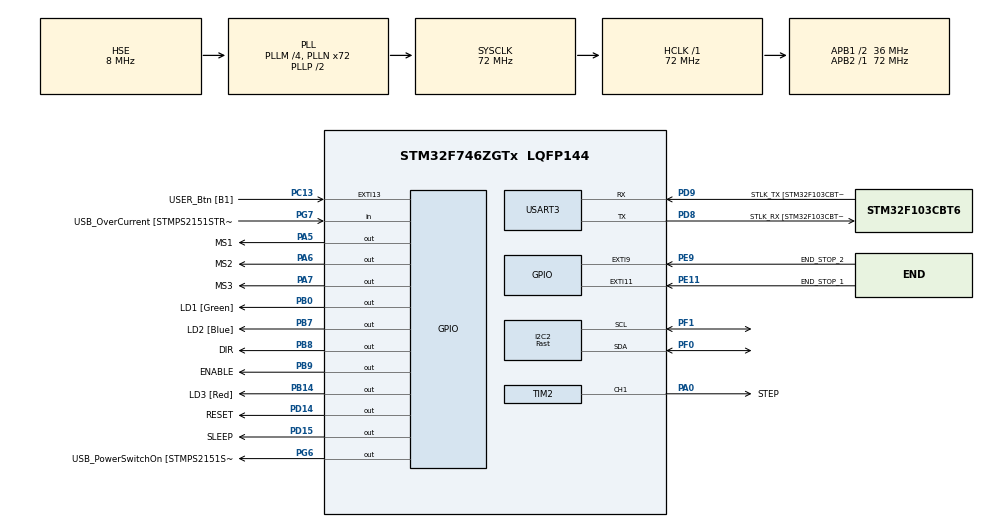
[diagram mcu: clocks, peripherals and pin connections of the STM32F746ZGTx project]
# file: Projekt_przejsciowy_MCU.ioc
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I2C2.I2C_Speed_Mode=I2C_Fast
I2C2.Timing=0x00301739
Mcu.Family=STM32F7
Mcu.Name=STM32F746ZGTx
Mcu.Package=LQFP144
NVIC.EXTI15_10_IRQn=true\:0\:0\:false\:false\:true\:true\:true\:true
NVIC.EXTI9_5_IRQn=true\:0\:0\:false\:false\:true\:true\:true\:true
NVIC.PriorityGroup=NVIC_PRIORITYGROUP_4
NVIC.TIM3_IRQn=true\:0\:0\:false\:false\:true\:true\:true\:true
NVIC.TIM4_IRQn=true\:0\:0\:false\:false\:true\:true\:true\:true
PA0/WKUP.GPIO_Label=STEP
PA0/WKUP.Signal=S_TIM2_CH1_ETR
PA13.GPIO_Label=TMS
PA13.Mode=Serial_Wire
PA13.Signal=SYS_JTMS-SWDIO
PA14.GPIO_Label=TCK
PA14.Mode=Serial_Wire
PA14.Signal=SYS_JTCK-SWCLK
PA5.GPIO_Label=MS1
PA5.Signal=GPIO_Output
PA6.GPIO_Label=MS2
PA6.Signal=GPIO_Output
PA7.GPIO_Label=MS3
PA7.Signal=GPIO_Output
PB0.GPIO_Label=LD1 [Green]
PB0.Signal=GPIO_Output
PB14.GPIO_Label=LD3 [Red]
PB14.Signal=GPIO_Output
PB3.GPIO_Label=SW0
PB3.Signal=SYS_JTDO-SWO
PB7.GPIO_Label=LD2 [Blue]
PB7.Signal=GPIO_Output
PB8.GPIO_Label=DIR
PB8.Signal=GPIO_Output
PB9.GPIO_Label=ENABLE
PB9.Signal=GPIO_Output
PC13.GPIO_Label=USER_Btn [B1]
PC13.Signal=GPXTI13
PC14/OSC32_IN.Mode=LSE-External-Oscillator
PC14/OSC32_IN.Signal=RCC_OSC32_IN
PC15/OSC32_OUT.Mode=LSE-External-Oscillator
PC15/OSC32_OUT.Signal=RCC_OSC32_OUT
PD14.GPIO_Label=RESET
PD14.Signal=GPIO_Output
PD15.GPIO_Label=SLEEP
PD15.Signal=GPIO_Output
PD8.GPIO_Label=STLK_RX [STM32F103CBT6_PA3]
PD8.Mode=Asynchronous
PD8.Signal=USART3_TX
PD9.GPIO_Label=STLK_TX [STM32F103CBT6_PA2]
PD9.Mode=Asynchronous
PD9.Signal=USART3_RX
PE11.GPIO_Label=END_STOP_1
PE11.Signal=GPXTI11
PE9.GPIO_Label=END_STOP_2
PE9.Signal=GPXTI9
PF0.Mode=I2C
PF0.Signal=I2C2_SDA
PF1.Mode=I2C
PF1.Signal=I2C2_SCL
PG6.GPIO_Label=USB_PowerSwitchOn [STMPS2151STR_EN]
PG6.Signal=GPIO_Output
PG7.GPIO_Label=USB_OverCurrent [STMPS2151STR_FAULT]
PG7.Signal=GPIO_Input
PH0/OSC_IN.GPIO_Label=MCO [STM32F103CBT6_PA8]
PH0/OSC_IN.Mode=HSE-External-Clock-Source
PH0/OSC_IN.Signal=RCC_OSC_IN
PH1/OSC_OUT.Mode=HSE-External-Clock-Source
PH1/OSC_OUT.Signal=RCC_OSC_OUT
ProjectManager.HeapSize=0x200
ProjectManager.StackSize=0x400
ProjectManager.TargetToolchain=STM32CubeIDE
RCC.48MHZClocksFreq_Value=24000000
RCC.AHBFreq_Value=72000000
RCC.APB1CLKDivider=RCC_HCLK_DIV2
RCC.APB1Freq_Value=36000000
RCC.APB1TimFreq_Value=72000000
RCC.APB2Freq_Value=72000000
RCC.APB2TimFreq_Value=72000000
RCC.CortexFreq_Value=72000000
RCC.HCLKFreq_Value=72000000
RCC.HSE_VALUE=8000000
RCC.HSI_VALUE=16000000
RCC.PLLM=4
RCC.PLLMUL=RCC_PLL_MUL9
RCC.PLLN=72
RCC.PLLQ=3
RCC.PLLSourceVirtual=RCC_PLLSOURCE_HSE
RCC.PRESCALERUSB=RCC_USBCLKSOURCE_PLL_DIV1_5
RCC.SYSCLKFreq_VALUE=72000000
RCC.SYSCLKSource=RCC_SYSCLKSOURCE_PLLCLK
RCC.SYSCLKSourceVirtual=RCC_SYSCLKSOURCE_PLLCLK
RCC.USBFreq_Value=48000000
RCC.VCOOutputFreq_Value=144000000
SH.S_TIM2_CH1_ETR.0=TIM2_CH1,PWM Generation1 CH1
TIM2.Channel-PWM\ Generation1\ CH1=TIM_CHANNEL_1
TIM2.Period=999
TIM2.Prescaler=71
TIM2.Pulse-PWM\ Generation1\ CH1=499
TIM2.TIM_MasterOutputTrigger=TIM_TRGO_UPDATE
TIM3.Period=0
TIM4.AutoReloadPreload=TIM_AUTORELOAD_PRELOAD_ENABLE
TIM4.Period=1999
TIM4.Prescaler=7199
TIM4.TIM_MasterOutputTrigger=TIM_TRGO_UPDATE
USART3.VirtualMode-Asynchronous=VM_ASYNC
VP_TIM2_VS_ClockSourceINT.Mode=Internal
VP_TIM3_VS_ClockSourceITR.Mode=TriggerSource_ITR1
VP_TIM3_VS_ControllerModeClock.Mode=Clock Mode
VP_TIM4_VS_ClockSourceINT.Mode=Internal
board=NUCLEO-F746ZG

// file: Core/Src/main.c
/* USER CODE BEGIN Header */
/**
  ******************************************************************************
  * @file           : main.c
  * @brief          : Main program body
  ******************************************************************************
  * @attention
  *
  * Copyright (c) 2022 STMicroelectronics.
  * All rights reserved.
  *
  * This software is licensed under terms that can be found in the LICENSE file
  * in the root directory of this software component.
  * If no LICENSE file comes with this software, it is provided AS-IS.
  *
  ******************************************************************************
  */
/* USER CODE END Header */
#include "main.h"
#include "i2c.h"
#include "tim.h"
#include "usart.h"
#include "gpio.h"

/* USER CODE BEGIN Includes */
#include "A4988_Drive.h" // Biblioteka silnika sterownika silnika krokowego
#include "VL6180X.h" // Biblioteka czujnika odległości
/* USER CODE END Includes */

/* USER CODE BEGIN PD */
//
// Wybór sterowania
//
#define PETLA_OTWARTA 1
#define PETLA_ZAMKNIETA 2
/* USER CODE END PD */

/* USER CODE BEGIN PV */
//
// Sterownik silnika
//
A4988_Drive	motor = {	.NAME = "MOTOR",
						.STEPS = 200,
						.RESOLUTION = 1,
						.PORT_DIR = DIR_GPIO_Port,
						.PIN_DIR = DIR_Pin,
						.PORT_ENABLE = ENABLE_GPIO_Port,
						.PIN_ENABLE = ENABLE_Pin,
						.PORT_MS1 = MS1_GPIO_Port,
						.PIN_MS1 = MS1_Pin,
						.PORT_MS2 = MS2_GPIO_Port,
						.PIN_MS2 = MS2_Pin,
						.PORT_MS3 = MS3_GPIO_Port,
						.PIN_MS3 = MS3_Pin,
						.STEP_mm_RESOLUTION = 0.005,
						.PORT_RESET = RESET_GPIO_Port,
						.PIN_RESET = RESET_Pin,
						.PORT_SLEEP = SLEEP_GPIO_Port ,
						.PIN_SLEEP = SLEEP_Pin,
						.TIM_STEP = &htim2,
						.TIM_STEP_CHANNEL = TIM_CHANNEL_1,
						.TIM_COUNTER_SLAVE = &htim3};
//
// Sensor odległości
//
VL6180X_ sensor;
volatile uint16_t Mesure_distance = 0;
//
// Zadana odległość
//
volatile uint16_t Set_distance = 0;
//
// Wybór sterowania
//
char control = PETLA_OTWARTA;
/* USER CODE END PV */

void SystemClock_Config(void);

int main(void)
{

  /* MCU Configuration--------------------------------------------------------*/

  /* Reset of all peripherals, Initializes the Flash interface and the Systick. */
  HAL_Init();

  /* Configure the system clock */
  SystemClock_Config();

  /* Initialize all configured peripherals */
  MX_GPIO_Init();
  MX_USART3_UART_Init();
  MX_TIM2_Init();
  MX_TIM3_Init();
  MX_I2C2_Init();
  MX_TIM4_Init();
  /* USER CODE BEGIN 2 */
  //
  // Inicjalizacja silnika
  //
  Init_A4988(&motor); // Domyślne parametry i włączenie pomiarów

  //
  // Inicjalizacja czujnika
  //
  VL6180X_Init(&sensor, &hi2c2); // Inicjalizacja połączenia
  configureDefault_VL6180X(&sensor); // Domyślne ustawienia pomiaru
  Mesure_distance = readRangeSingleMillimeters_VL6180X(&sensor); // Pomiar początkowy
  //
  // Sterowanie
  //
  if(control == PETLA_OTWARTA){
	  HAL_TIM_Base_Stop_IT(&htim4); // Wyłączenie pomiaru z czujnika
	  HAL_TIM_Base_Start_IT(motor.TIM_COUNTER_SLAVE); // Włączenie zliczania impulsów
	  Rotate_mm_A4988(&motor, Set_distance); // Obracanie
  }else if (control == PETLA_ZAMKNIETA){
	  HAL_TIM_Base_Start_IT(&htim4); // Włączenie pomiaru z częstotliwością 5Hz
	  Mesure_distance = readRangeSingleMillimeters_VL6180X(&sensor); // Pomiar początkowy
	  HAL_TIM_Base_Stop_IT(motor.TIM_COUNTER_SLAVE); // Wyłączenie zliczania impulsów
	  HAL_TIM_PWM_Start(motor.TIM_STEP, motor.TIM_STEP_CHANNEL); // Obracanie
  }
  /* USER CODE END 2 */

  /* Infinite loop */
  while (1)
  {

  }
}

void SystemClock_Config(void)
{
  RCC_OscInitTypeDef RCC_OscInitStruct = {0};
  RCC_ClkInitTypeDef RCC_ClkInitStruct = {0};

  /** Configure LSE Drive Capability
  */
  HAL_PWR_EnableBkUpAccess();

  /** Configure the main internal regulator output voltage
  */
  __HAL_RCC_PWR_CLK_ENABLE();
  __HAL_PWR_VOLTAGESCALING_CONFIG(PWR_REGULATOR_VOLTAGE_SCALE3);

  /** Initializes the RCC Oscillators according to the specified parameters
  * in the RCC_OscInitTypeDef structure.
  */
  RCC_OscInitStruct.OscillatorType = RCC_OSCILLATORTYPE_HSE;
  RCC_OscInitStruct.HSEState = RCC_HSE_BYPASS;
  RCC_OscInitStruct.PLL.PLLState = RCC_PLL_ON;
  RCC_OscInitStruct.PLL.PLLSource = RCC_PLLSOURCE_HSE;
  RCC_OscInitStruct.PLL.PLLM = 4;
  RCC_OscInitStruct.PLL.PLLN = 72;
  RCC_OscInitStruct.PLL.PLLP = RCC_PLLP_DIV2;
  RCC_OscInitStruct.PLL.PLLQ = 3;
  if (HAL_RCC_OscConfig(&RCC_OscInitStruct) != HAL_OK)
  {
    Error_Handler();
  }

  /** Initializes the CPU, AHB and APB buses clocks
  */
  RCC_ClkInitStruct.ClockType = RCC_CLOCKTYPE_HCLK|RCC_CLOCKTYPE_SYSCLK
                              |RCC_CLOCKTYPE_PCLK1|RCC_CLOCKTYPE_PCLK2;
  RCC_ClkInitStruct.SYSCLKSource = RCC_SYSCLKSOURCE_PLLCLK;
  RCC_ClkInitStruct.AHBCLKDivider = RCC_SYSCLK_DIV1;
  RCC_ClkInitStruct.APB1CLKDivider = RCC_HCLK_DIV2;
  RCC_ClkInitStruct.APB2CLKDivider = RCC_HCLK_DIV1;

  if (HAL_RCC_ClockConfig(&RCC_ClkInitStruct, FLASH_LATENCY_2) != HAL_OK)
  {
    Error_Handler();
  }
}

/* USER CODE BEGIN 4 */
void HAL_TIM_PeriodElapsedCallback(TIM_HandleTypeDef *htim){
	// Sterowanie w pętli otwartej - callback od sterownika silnika
	if(htim == motor.TIM_COUNTER_SLAVE){
		HAL_TIM_PWM_Stop(motor.TIM_STEP, motor.TIM_STEP_CHANNEL);
	}
	// Sterowanie w pętli zamkniętej - callback od pomiaru
	else if(htim->Instance == TIM4){
		Mesure_distance = readRangeSingleMillimeters_VL6180X(&sensor);
		if(Mesure_distance > Set_distance){
			HAL_TIM_PWM_Stop(motor.TIM_STEP, motor.TIM_STEP_CHANNEL);
		}
	}
}
//
// Bezpieczniki krańcowe
//
void HAL_GPIO_EXTI_Callback(uint16_t GPIO_Pin){
	if(GPIO_Pin == END_STOP_1_Pin){
//		TODO
	}else if(GPIO_Pin == END_STOP_2_Pin){
//		TODO
	}
}
/* USER CODE END 4 */

void Error_Handler(void)
{
  __disable_irq();
  while (1)
  {
  }
}
